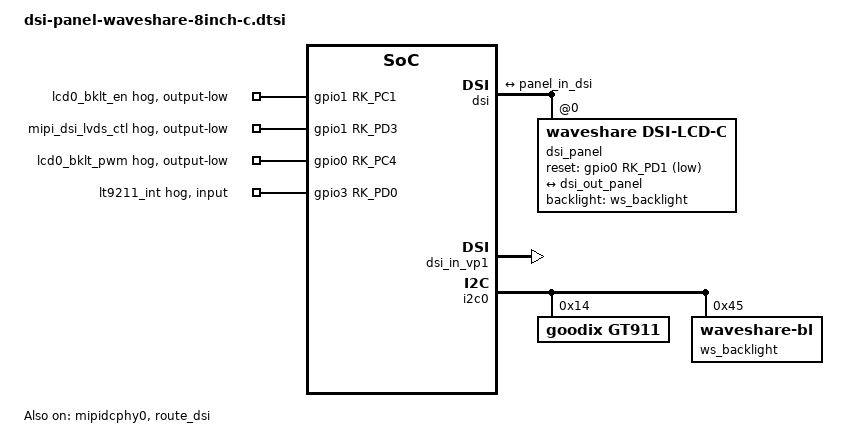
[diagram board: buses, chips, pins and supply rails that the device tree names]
// SPDX-License-Identifier: (GPL-2.0+ OR MIT)
/*
 * Waveshare 8inch/10.1inch DSI LCD (C) panel for Quectel PI SMARC RK3576.
 *
 * Keep the DSI panel node, panel power enable, temporary GPIO states,
 * panel pinctrl and Waveshare I2C backlight controller together here,
 * so the screen adaptation is not scattered in rk3576-display.dtsi.
 */

/ {
	backlight: backlight {
		status = "disabled";
		compatible = "pwm-backlight";
		pwms = <&pwm0_2ch_0 0 25000 0>;
		/*
		 * 旧的 SoC PWM 背光模板，当前微雪 DSI LCD-C 改用
		 * ws_backlight@45 通过 I2C 控制板载背光。
		 */
		brightness-levels = <
			  0  20  20  21  21  22  22  23
			 23  24  24  25  25  26  26  27
			 27  28  28  29  29  30  30  31
			 31  32  32  33  33  34  34  35
			 35  36  36  37  37  38  38  39
			 40  41  42  43  44  45  46  47
			 48  49  50  51  52  53  54  55
			 56  57  58  59  60  61  62  63
			 64  65  66  67  68  69  70  71
			 72  73  74  75  76  77  78  79
			 80  81  82  83  84  85  86  87
			 88  89  90  91  92  93  94  95
			 96  97  98  99 100 101 102 103
			104 105 106 107 108 109 110 111
			112 113 114 115 116 117 118 119
			120 121 122 123 124 125 126 127
			128 129 130 131 132 133 134 135
			136 137 138 139 140 141 142 143
			144 145 146 147 148 149 150 151
			152 153 154 155 156 157 158 159
			160 161 162 163 164 165 166 167
			168 169 170 171 172 173 174 175
			176 177 178 179 180 181 182 183
			184 185 186 187 188 189 190 191
			192 193 194 195 196 197 198 199
			200 201 202 203 204 205 206 207
			208 209 210 211 212 213 214 215
			216 217 218 219 220 221 222 223
			224 225 226 227 228 229 230 231
			232 233 234 235 236 237 238 239
			240 241 242 243 244 245 246 247
			248 249 250 251 252 253 254 255
		>;
		default-brightness-level = <200>;
	};

	vcc_lcd0_3v3: vcc-lcd0-3v3 {
		compatible = "regulator-fixed";
		/*
		 * 手动调试阶段不把 LCD0_VDD_EN 绑到 regulator 驱动，
		 * 仅保留这路 3.3V 电源定义供后续恢复参考。
		 */
		status = "disabled";
		regulator-name = "vcc_lcd0_3v3";
		regulator-min-microvolt = <3300000>;
		regulator-max-microvolt = <3300000>;
		regulator-always-on;
		regulator-boot-on;
		/*
		 * LCD0_VDD_EN，对应 GPIO3_D4_d。
		 * 原理图标注为 MIPI DSI 电源使能：
		 * 输出高打开 3.3V 电源，输出低关闭电源。
		 */
		enable-active-high;
		gpio = <&gpio3 RK_PD4 GPIO_ACTIVE_HIGH>;
	};
};

&pwm0_2ch_0 {
	/*
	 * LCD0_BKLT_PWM，对应 Pin 26 / GPIO0_C4_d / PWM0_CH0_M0。
	 * 当前暂不使用 SoC PWM 调光，避免和 GPIO hog 抢同一根脚。
	 */
	status = "disabled";
};

&gpio1 {
	lcd0_bklt_en_hog: lcd0-bklt-en-hog {
		gpio-hog;
		/*
		 * LCD0_BKLT_EN，对应 GPIO1_C1。
		 * 当前微雪屏背光由 I2C 控制器控制，该脚暂时不用，
		 * 配成普通 GPIO 并默认拉低关闭。
		 */
		gpios = <RK_PC1 GPIO_ACTIVE_HIGH>;
		line-name = "lcd0_bklt_en";
		output-low;
	};

	mipi_dsi_lvds_ctl_hog: mipi-dsi-lvds-ctl-hog {
		gpio-hog;
		/*
		 * MIPI_DSI_LVDS_CTL，对应 GPIO1_D3 / BT_SAI2_SDI。
		 * 高电平选择 LVDS，低电平选择 MIPI DSI，本屏调试时拉低选择 DSI。
		 */
		gpios = <RK_PD3 GPIO_ACTIVE_HIGH>;
		line-name = "mipi_dsi_lvds_ctl";
		output-low;
	};
};

	&gpio0 {
		lcd0_bklt_pwm_hog: lcd0-bklt-pwm-hog {
			gpio-hog;
			/*
		 * LCD0_BKLT_PWM，对应 Pin 26 / GPIO0_C4_d。
		 * 当前暂不使用 SoC PWM 调光，配成普通 GPIO 并默认拉低关闭。
		 */
		gpios = <RK_PC4 GPIO_ACTIVE_HIGH>;
		line-name = "lcd0_bklt_pwm";
		output-low;
	};
};

&gpio3 {
	lt9211_int_hog: lt9211-int-hog {
		gpio-hog;
		/*
		 * GPIO3_D0，对应 Pin 236 / LT9211C 中断信号。
		 * 当前不接入中断处理，只占成普通 GPIO 输入。
		 */
		gpios = <RK_PD0 GPIO_ACTIVE_HIGH>;
		line-name = "lt9211_int";
		input;
	};
};

	&pinctrl {
		pinctrl-names = "default";
		pinctrl-0 = <&lcd0_vdd_en_default &lt9211_pwr_en_default>;

		lcd {
			lcd_rst: lcd-rst {
				/*
				 * 把 LCD_RST 交给 panel-simple 的 reset-gpios，
				 * 由内核在 prepare 流程中产生真正的 reset 脉冲。
				 */
				rockchip,pins = <0 RK_PD1 RK_FUNC_GPIO &pcfg_pull_up>;
			};
		};

		lcd0_vdd_test {
			lcd0_vdd_en_default: lcd0-vdd-en-default {
			/*
			 * 手动调试阶段把 LCD0_VDD_EN 仅作为普通 GPIO 使用，
			 * 内核启动后默认输出低电平，后续可由用户态手动拉高。
			 */
			rockchip,pins = <3 RK_PD4 RK_FUNC_GPIO &pcfg_output_high>;
		};

		lt9211_pwr_en_default: lt9211-pwr-en-default {
			/*
			 * GPIO4_C4，对应 LT9211 电源使能。
			 * 先按当前默认行为保持低电平，后续可由用户态手动拉高。
			 */
			rockchip,pins = <4 RK_PC4 RK_FUNC_GPIO &pcfg_output_low>;
		};
	};

	touch {
		touch_gpio: touch-gpio {
			rockchip,pins =
				<0 RK_PD0 RK_FUNC_GPIO &pcfg_pull_up>,
				<0 RK_PC5 RK_FUNC_GPIO &pcfg_pull_up>;
		};
	};
};

	&dsi {
		status = "okay";

		dsi_panel: panel@0 {
			status = "okay";
			compatible = "waveshare,dsi-lcd-c";
			reg = <0>;
			backlight = <&ws_backlight>;
			pinctrl-names = "default";
			pinctrl-0 = <&lcd_rst>;
			reset-gpios = <&gpio0 RK_PD1 GPIO_ACTIVE_LOW>;

			reset-delay-ms = <20>;
			init-delay-ms = <120>;
		prepare-delay-ms = <20>;
		enable-delay-ms = <20>;
		disable-delay-ms = <20>;
		unprepare-delay-ms = <80>;

		width-mm = <172>;
		height-mm = <108>;
		bpc = <8>;
		dsi,flags = <(MIPI_DSI_MODE_VIDEO | MIPI_DSI_MODE_VIDEO_BURST |
			      MIPI_DSI_MODE_LPM |MIPI_DSI_MODE_NO_EOT_PACKET)>;
		dsi,format = <MIPI_DSI_FMT_RGB888>;
		dsi,lanes = <2>;
		display-timings {
			native-mode = <&waveshare_8inch_c_timing>;

			waveshare_8inch_c_timing: timing0 {
				clock-frequency = <83333000>;
				hactive = <1280>;
				vactive = <800>;
				hfront-porch = <156>;
				hsync-len = <20>;
				hback-porch = <40>;
				vfront-porch = <40>;
				vsync-len = <48>;
				vback-porch = <40>;
				hsync-active = <0>;
				vsync-active = <0>;
				de-active = <0>;
				pixelclk-active = <0>;
			};
		};

		ports {
			#address-cells = <1>;
			#size-cells = <0>;

			port@1 {
				reg = <1>;

				panel_in_dsi: endpoint {
					remote-endpoint = <&dsi_out_panel>;
				};
			};
		};
	};

	ports {
		#address-cells = <1>;
		#size-cells = <0>;

		port@1 {
			reg = <1>;

			dsi_out_panel: endpoint {
				remote-endpoint = <&panel_in_dsi>;
			};
		};
	};
};

/*
 * mipidcphy0 needs to be enabled
 * when dsi is enabled
 */
&mipidcphy0 {
	status = "okay";
};

&route_dsi {
	status = "okay";
	logo,uboot = "quectel_720p.bmp";
	logo,kernel = "quectel_720p_kernel.bmp";
};

&dsi_in_vp0 {
	status = "disabled";
};

&dsi_in_vp1 {
	status = "okay";
};

&dsi_in_vp2 {
	status = "disabled";
};

&dsi_in_vopl {
	status = "disabled";
};

&i2c0 {
	pinctrl-0 = <&i2c0m1_xfer>;
	status = "okay";

	focaltech@38 {
		status = "disabled";
		compatible = "focaltech,fts_ts";
		reg = <0x38>;
		pinctrl-names = "default";
		pinctrl-0 = <&touch_gpio>;
		focaltech,reset-gpio = <&gpio0 RK_PD0 GPIO_ACTIVE_HIGH>;
		focaltech,irq-gpio = <&gpio0 RK_PC5 IRQ_TYPE_LEVEL_LOW>;
		focaltech,max-touch-number = <5>;
		focaltech,display-coords = <0 0 720 1280>;
		focaltech,have-key;
		focaltech,key-number = <3>;
		focaltech,keys = <139 172 158>;
		focaltech,key-y-coords = <1340 1340 1340>;
		focaltech,key-x-coords = <150 330 660>;
	};

	gt967@5d {
		status = "disabled";
		compatible = "goodix_v282,gt967";
		reg = <0x5d>;
		touch-gpio = <&gpio0 RK_PC5 IRQ_TYPE_LEVEL_LOW>;
		reset-gpio = <&gpio0 RK_PD0 GPIO_ACTIVE_HIGH>;
		max-x = <720>;
		max-y = <1280>;
		max-w = <512>;
		max-p = <512>;
		max_touch_num = <11>;
		goodix,esd-protect = <1>;
		goodix,int-sync = <1>;
	};
	gt911: gt911@14 {
		status = "okay";
		compatible = "goodix,gt911";
		reg = <0x14>;
		// pinctrl-names = "default";
		// pinctrl-0 = <&touch_gpio>;
		// interrupt-parent = <&gpio0>;
		// interrupts = <RK_PC5 IRQ_TYPE_EDGE_RISING>;
		// irq-gpios = <&gpio0 RK_PC5 GPIO_ACTIVE_HIGH>;
		// reset-gpios = <&gpio0 RK_PD0 GPIO_ACTIVE_HIGH>;
		// 10.1inch C / 8.0inch C
		touchscreen-size-x = <800>;
		touchscreen-size-y = <1280>;
		touchscreen-inverted-x;
		touchscreen-swapped-x-y;
	};
	ws_backlight: waveshare-bl@45 {
		/*
		 * Temporarily disable the I2C backlight controller so we can
		 * isolate whether this client is the source of the i2c0 bus hang.
		 */
		status = "okay";
		compatible = "waveshare-bl";
		reg = <0x45>;
		default-brightness-level = <200>;
		max-brightness-level = <255>;
		min-brightness-level = <5>;
	};
};
